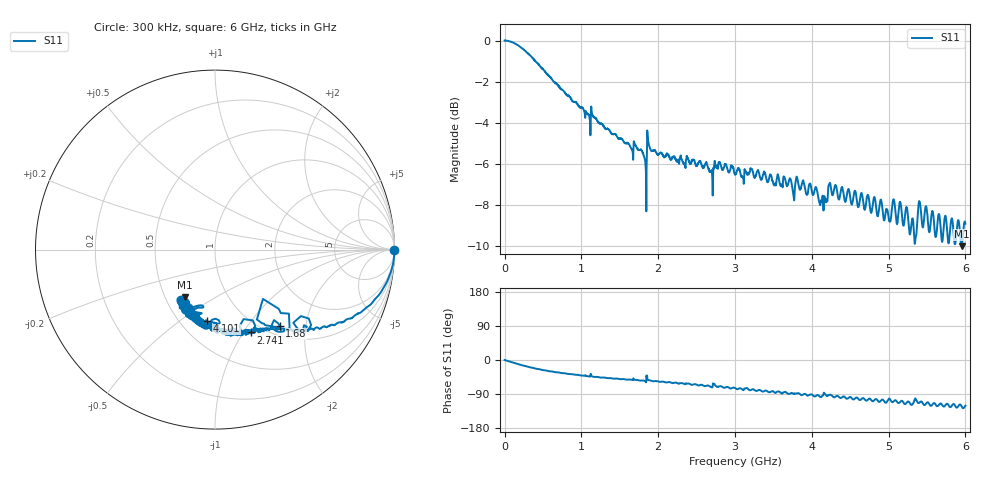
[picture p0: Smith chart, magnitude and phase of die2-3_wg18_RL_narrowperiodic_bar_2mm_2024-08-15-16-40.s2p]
!Keysight Technologies,P9374A,MY57304198,A.17.20.09
!Date: Thursday, August 15, 2024 16:40:14
!Correction: S11(C  1-Port  )
!S21(C  1-Port  )
!S12(Off)
!S22(Off)
!S2P File: Measurements: S11, S21, S12, S22:
# Hz S  dB  R 50
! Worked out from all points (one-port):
!   6000 points, 300 kHz to 6 GHz, reference 50 ohm
!   lowest |S11| = -10.0 dB at 5.95 GHz (marker M1), VSWR 1.92, Z = 31.3 - j18.5 ohm
!   |S11| at or under -10 dB: 5.946653 GHz to 5.953748 GHz (7.095 MHz wide, 0.119 % of centre)
!   S11 on the Smith chart (normalised r, x): 300 kHz: open; 1.68 GHz: 1.17, -1.44; 2.741 GHz: 0.88, -1.08; 4.101 GHz: 0.67, -0.64; 6 GHz: 0.58, -0.41
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300000  -0.00 -0.0  -200.00 45.0  -200.00 45.0  -200.00 45.0
1.773207e8  -0.24 -11.0  -200.00 45.0  -200.00 45.0  -200.00 45.0
4.133482e8  -1.05 -23.2  -200.00 45.0  -200.00 45.0  -200.00 45.0
1.000417e9  -3.26 -41.0  -200.00 45.0  -200.00 45.0  -200.00 45.0
1.680496e9  -5.07 -49.7  -200.00 45.0  -200.00 45.0  -200.00 45.0
1.815512e9  -5.63 -54.4  -200.00 45.0  -200.00 45.0  -200.00 45.0
1.876519e9  -5.03 -53.3  -200.00 45.0  -200.00 45.0  -200.00 45.0
2.000533e9  -5.57 -56.9  -200.00 45.0  -200.00 45.0  -200.00 45.0
2.680613e9  -6.40 -70.8  -200.00 45.0  -200.00 45.0  -200.00 45.0
2.74062e9  -5.97 -66.5  -200.00 45.0  -200.00 45.0  -200.00 45.0
3.00065e9  -6.53 -74.3  -200.00 45.0  -200.00 45.0  -200.00 45.0
4.000767e9  -7.37 -91.2  -200.00 45.0  -200.00 45.0  -200.00 45.0
4.100778e9  -7.92 -96.2  -200.00 45.0  -200.00 45.0  -200.00 45.0
4.239795e9  -6.97 -91.4  -200.00 45.0  -200.00 45.0  -200.00 45.0
4.71185e9  -7.80 -107.3  -200.00 45.0  -200.00 45.0  -200.00 45.0
5.000883e9  -8.67 -103.0  -200.00 45.0  -200.00 45.0  -200.00 45.0
5.064891e9  -7.74 -109.4  -200.00 45.0  -200.00 45.0  -200.00 45.0
5.297918e9  -8.92 -118.6  -200.00 45.0  -200.00 45.0  -200.00 45.0
5.345924e9  -9.77 -101.4  -200.00 45.0  -200.00 45.0  -200.00 45.0
5.40393e9  -7.86 -112.0  -200.00 45.0  -200.00 45.0  -200.00 45.0
5.949994e9  -10.03 -122.4  -200.00 45.0  -200.00 45.0  -200.00 45.0
6e9  -8.94 -120.6  -200.00 45.0  -200.00 45.0  -200.00 45.0
